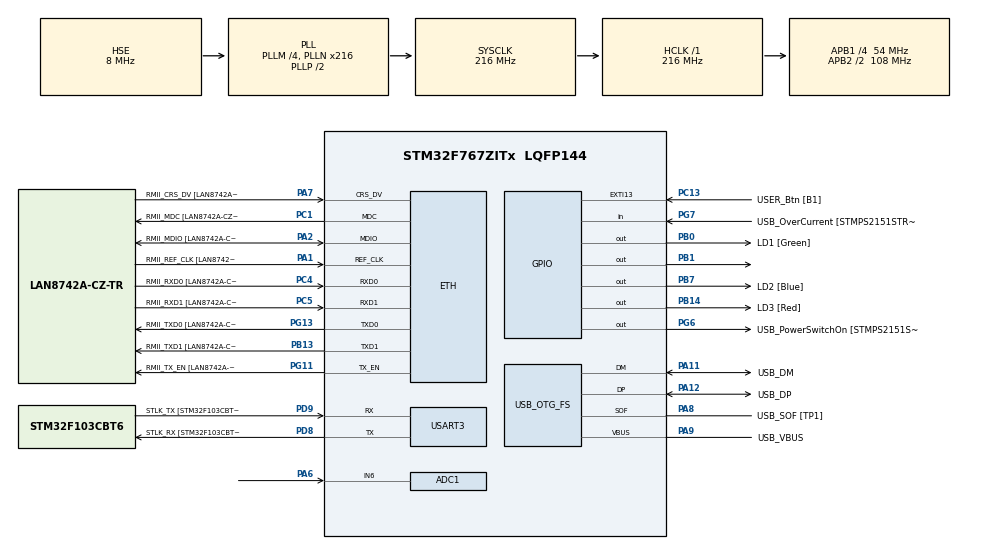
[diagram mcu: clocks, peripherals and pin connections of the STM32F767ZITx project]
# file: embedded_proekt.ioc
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ADC1.Channel-0\#ChannelRegularConversion=ADC_CHANNEL_6
ADC1.DiscontinuousConvMode=DISABLE
ADC1.NbrOfConversion=1
ADC1.NbrOfConversionFlag=1
ADC1.Rank-0\#ChannelRegularConversion=1
ADC1.SamplingTime-0\#ChannelRegularConversion=ADC_SAMPLETIME_112CYCLES
ADC1.ScanConvMode=ADC_SCAN_ENABLE
ADC1.master=1
ETH.MediaInterface=HAL_ETH_RMII_MODE
ETH.PHY_Name=LAN8742A_PHY_ADDRESS
ETH.PHY_Value=0
ETH.PhyAddress=0
FREERTOS.Tasks01=TemperaturaTask,24,128,startTemperaturaTask,Default,NULL,Dynamic,NULL,NULL;comunicationTas,8,128,startComunicationTask,Default,NULL,Dynamic,NULL,NULL
FREERTOS.configUSE_NEWLIB_REENTRANT=1
Mcu.Family=STM32F7
Mcu.Name=STM32F767ZITx
Mcu.Package=LQFP144
NVIC.PriorityGroup=NVIC_PRIORITYGROUP_4
NVIC.TIM6_DAC_IRQn=true\:15\:0\:false\:false\:true\:false\:false\:true\:true
NVIC.TimeBase=TIM6_DAC_IRQn
NVIC.TimeBaseIP=TIM6
PA1.GPIO_Label=RMII_REF_CLK [LAN8742A-CZ-TR_REFCLK0]
PA1.Mode=RMII
PA1.Signal=ETH_REF_CLK
PA10.GPIO_Label=USB_ID
PA10.Signal=USB_OTG_FS_ID
PA11.GPIO_Label=USB_DM
PA11.Mode=Device_Only
PA11.Signal=USB_OTG_FS_DM
PA12.GPIO_Label=USB_DP
PA12.Mode=Device_Only
PA12.Signal=USB_OTG_FS_DP
PA13.GPIO_Label=TMS
PA13.Mode=Serial_Wire
PA13.Signal=SYS_JTMS-SWDIO
PA14.GPIO_Label=TCK
PA14.Mode=Serial_Wire
PA14.Signal=SYS_JTCK-SWCLK
PA2.GPIO_Label=RMII_MDIO [LAN8742A-CZ-TR_MDIO]
PA2.Mode=RMII
PA2.Signal=ETH_MDIO
PA6.Signal=ADCx_IN6
PA7.GPIO_Label=RMII_CRS_DV [LAN8742A-CZ-TR_CRS_DV]
PA7.Mode=RMII
PA7.Signal=ETH_CRS_DV
PA8.GPIO_Label=USB_SOF [TP1]
PA8.Mode=Activate_SOF_FS
PA8.Signal=USB_OTG_FS_SOF
PA9.GPIO_Label=USB_VBUS
PA9.Mode=Activate_VBUS
PA9.Signal=USB_OTG_FS_VBUS
PB0.GPIO_Label=LD1 [Green]
PB0.Signal=GPIO_Output
PB1.PinState=GPIO_PIN_SET
PB1.Signal=GPIO_Output
PB13.GPIO_Label=RMII_TXD1 [LAN8742A-CZ-TR_TXD1]
PB13.Mode=RMII
PB13.Signal=ETH_TXD1
PB14.GPIO_Label=LD3 [Red]
PB14.Signal=GPIO_Output
PB3.GPIO_Label=SWO
PB3.Signal=SYS_JTDO-SWO
PB7.GPIO_Label=LD2 [Blue]
PB7.Signal=GPIO_Output
PC1.GPIO_Label=RMII_MDC [LAN8742A-CZ-TR_MDC]
PC1.Mode=RMII
PC1.Signal=ETH_MDC
PC13.GPIO_Label=USER_Btn [B1]
PC13.Signal=GPXTI13
PC14/OSC32_IN.Mode=LSE-External-Oscillator
PC14/OSC32_IN.Signal=RCC_OSC32_IN
PC15/OSC32_OUT.Mode=LSE-External-Oscillator
PC15/OSC32_OUT.Signal=RCC_OSC32_OUT
PC4.GPIO_Label=RMII_RXD0 [LAN8742A-CZ-TR_RXD0]
PC4.Mode=RMII
PC4.Signal=ETH_RXD0
PC5.GPIO_Label=RMII_RXD1 [LAN8742A-CZ-TR_RXD1]
PC5.Mode=RMII
PC5.Signal=ETH_RXD1
PD8.GPIO_Label=STLK_RX [STM32F103CBT6_PA3]
PD8.Mode=Asynchronous
PD8.Signal=USART3_TX
PD9.GPIO_Label=STLK_TX [STM32F103CBT6_PA2]
PD9.Mode=Asynchronous
PD9.Signal=USART3_RX
PG11.GPIO_Label=RMII_TX_EN [LAN8742A-CZ-TR_TXEN]
PG11.Mode=RMII
PG11.Signal=ETH_TX_EN
PG13.GPIO_Label=RMII_TXD0 [LAN8742A-CZ-TR_TXD0]
PG13.Mode=RMII
PG13.Signal=ETH_TXD0
PG6.GPIO_Label=USB_PowerSwitchOn [STMPS2151STR_EN]
PG6.Signal=GPIO_Output
PG7.GPIO_Label=USB_OverCurrent [STMPS2151STR_FAULT]
PG7.Signal=GPIO_Input
PH0/OSC_IN.GPIO_Label=MCO [STM32F103CBT6_PA8]
PH0/OSC_IN.Mode=HSE-External-Clock-Source
PH0/OSC_IN.Signal=RCC_OSC_IN
PH1/OSC_OUT.Mode=HSE-External-Clock-Source
PH1/OSC_OUT.Signal=RCC_OSC_OUT
ProjectManager.HeapSize=0x200
ProjectManager.StackSize=0x400
ProjectManager.TargetToolchain=STM32CubeIDE
RCC.48MHZClocksFreq_Value=24000000
RCC.AHBFreq_Value=216000000
RCC.APB1CLKDivider=RCC_HCLK_DIV4
RCC.APB1Freq_Value=54000000
RCC.APB1TimFreq_Value=108000000
RCC.APB2CLKDivider=RCC_HCLK_DIV2
RCC.APB2Freq_Value=108000000
RCC.APB2TimFreq_Value=216000000
RCC.CortexFreq_Value=216000000
RCC.HCLKFreq_Value=216000000
RCC.HSE_VALUE=8000000
RCC.HSI_VALUE=16000000
RCC.PLLM=4
RCC.PLLMUL=RCC_PLL_MUL9
RCC.PLLN=216
RCC.PLLQ=9
RCC.PRESCALERUSB=RCC_USBCLKSOURCE_PLL_DIV1_5
RCC.SYSCLKFreq_VALUE=216000000
RCC.SYSCLKSource=RCC_SYSCLKSOURCE_PLLCLK
RCC.SYSCLKSourceVirtual=RCC_SYSCLKSOURCE_PLLCLK
RCC.USBFreq_Value=48000000
RCC.VCOOutputFreq_Value=432000000
SH.ADCx_IN6.0=ADC1_IN6,IN6
USART3.VirtualMode-Asynchronous=VM_ASYNC
USB_OTG_FS.VirtualMode=Device_Only
VP_FREERTOS_VS_CMSIS_V2.Mode=CMSIS_V2
VP_SYS_VS_tim6.Mode=TIM6
board=NUCLEO-F767ZI

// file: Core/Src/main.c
/* USER CODE BEGIN Header */
/**
  ******************************************************************************
  * @file           : main.c
  * @brief          : Main program body
  ******************************************************************************
  * @attention
  *
  * Copyright (c) 2022 STMicroelectronics.
  * All rights reserved.
  *
  * This software is licensed under terms that can be found in the LICENSE file
  * in the root directory of this software component.
  * If no LICENSE file comes with this software, it is provided AS-IS.
  *
  ******************************************************************************
  */
/* USER CODE END Header */
#include "main.h"
#include "cmsis_os.h"
#include "adc.h"
#include "eth.h"
#include "usart.h"
#include "usb_otg.h"
#include "gpio.h"

void SystemClock_Config(void);
void MX_FREERTOS_Init(void);

int main(void)
{

  /* MCU Configuration--------------------------------------------------------*/

  /* Reset of all peripherals, Initializes the Flash interface and the Systick. */
  HAL_Init();

  /* Configure the system clock */
  SystemClock_Config();

  /* Initialize all configured peripherals */
  MX_GPIO_Init();
  MX_ETH_Init();
  MX_USART3_UART_Init();
  MX_USB_OTG_FS_PCD_Init();
  MX_ADC1_Init();

  /* Init scheduler */
  osKernelInitialize();  /* Call init function for freertos objects (in freertos.c) */
  MX_FREERTOS_Init();

  /* Start scheduler */
  osKernelStart();

  /* We should never get here as control is now taken by the scheduler */
  /* Infinite loop */
  while (1)
  {

  }
}

void SystemClock_Config(void)
{
  RCC_OscInitTypeDef RCC_OscInitStruct = {0};
  RCC_ClkInitTypeDef RCC_ClkInitStruct = {0};

  /** Configure LSE Drive Capability
  */
  HAL_PWR_EnableBkUpAccess();

  /** Configure the main internal regulator output voltage
  */
  __HAL_RCC_PWR_CLK_ENABLE();
  __HAL_PWR_VOLTAGESCALING_CONFIG(PWR_REGULATOR_VOLTAGE_SCALE1);

  /** Initializes the RCC Oscillators according to the specified parameters
  * in the RCC_OscInitTypeDef structure.
  */
  RCC_OscInitStruct.OscillatorType = RCC_OSCILLATORTYPE_HSE;
  RCC_OscInitStruct.HSEState = RCC_HSE_BYPASS;
  RCC_OscInitStruct.PLL.PLLState = RCC_PLL_ON;
  RCC_OscInitStruct.PLL.PLLSource = RCC_PLLSOURCE_HSE;
  RCC_OscInitStruct.PLL.PLLM = 4;
  RCC_OscInitStruct.PLL.PLLN = 216;
  RCC_OscInitStruct.PLL.PLLP = RCC_PLLP_DIV2;
  RCC_OscInitStruct.PLL.PLLQ = 9;
  RCC_OscInitStruct.PLL.PLLR = 2;
  if (HAL_RCC_OscConfig(&RCC_OscInitStruct) != HAL_OK)
  {
    Error_Handler();
  }

  /** Activate the Over-Drive mode
  */
  if (HAL_PWREx_EnableOverDrive() != HAL_OK)
  {
    Error_Handler();
  }

  /** Initializes the CPU, AHB and APB buses clocks
  */
  RCC_ClkInitStruct.ClockType = RCC_CLOCKTYPE_HCLK|RCC_CLOCKTYPE_SYSCLK
                              |RCC_CLOCKTYPE_PCLK1|RCC_CLOCKTYPE_PCLK2;
  RCC_ClkInitStruct.SYSCLKSource = RCC_SYSCLKSOURCE_PLLCLK;
  RCC_ClkInitStruct.AHBCLKDivider = RCC_SYSCLK_DIV1;
  RCC_ClkInitStruct.APB1CLKDivider = RCC_HCLK_DIV4;
  RCC_ClkInitStruct.APB2CLKDivider = RCC_HCLK_DIV2;

  if (HAL_RCC_ClockConfig(&RCC_ClkInitStruct, FLASH_LATENCY_7) != HAL_OK)
  {
    Error_Handler();
  }
}

void HAL_TIM_PeriodElapsedCallback(TIM_HandleTypeDef *htim)
{
  if (htim->Instance == TIM6) {
    HAL_IncTick();
  }
}

void Error_Handler(void)
{
  __disable_irq();
  while (1)
  {
  }
}

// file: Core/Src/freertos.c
/* USER CODE BEGIN Header */
/**
  ******************************************************************************
  * File Name          : freertos.c
  * Description        : Code for freertos applications
  ******************************************************************************
  * @attention
  *
  * Copyright (c) 2022 STMicroelectronics.
  * All rights reserved.
  *
  * This software is licensed under terms that can be found in the LICENSE file
  * in the root directory of this software component.
  * If no LICENSE file comes with this software, it is provided AS-IS.
  *
  ******************************************************************************
  */
/* USER CODE END Header */

#include "FreeRTOS.h"
#include "task.h"
#include "main.h"
#include "cmsis_os.h"

/* USER CODE BEGIN Includes */
#include "math.h"
#include "adc.h"
#include "usart.h"
#include "stdio.h"
/* USER CODE END Includes */

/* USER CODE BEGIN Variables */
	float resNTC;
/* USER CODE END Variables */
/* Definitions for TemperaturaTask */
osThreadId_t TemperaturaTaskHandle;
const osThreadAttr_t TemperaturaTask_attributes = {
  .name = "TemperaturaTask",
  .stack_size = 128 * 4,
  .priority = (osPriority_t) osPriorityNormal,
};
/* Definitions for comunicationTas */
osThreadId_t comunicationTasHandle;
const osThreadAttr_t comunicationTas_attributes = {
  .name = "comunicationTas",
  .stack_size = 128 * 4,
  .priority = (osPriority_t) osPriorityLow,
};

/* USER CODE BEGIN FunctionPrototypes */
// Reverses a string 'str' of length 'len'
void reverse(char* str, int len)
{
    int i = 0, j = len - 1, temp;
    while (i < j) {
        temp = str[i];
        str[i] = str[j];
        str[j] = temp;
        i++;
        j--;
    }
}

// Converts a given integer x to string str[].
// d is the number of digits required in the output.
// If d is more than the number of digits in x,
// then 0s are added at the beginning.
int intToStr(int x, char str[], int d)
{
    int i = 0;
    while (x) {
        str[i++] = (x % 10) + '0';
        x = x / 10;
    }

    // If number of digits required is more, then
    // add 0s at the beginning
    while (i < d)
        str[i++] = '0';

    reverse(str, i);
    str[i] = '\0';
    return i;
}

// Converts a floating-point/double number to a string.
void ftoa(float n, char* res, int afterpoint)
{
    // Extract integer part
    int ipart = (int)n;

    // Extract floating part
    float fpart = n - (float)ipart;

    // convert integer part to string
    int i = intToStr(ipart, res, 0);

    // check for display option after point
    if (afterpoint != 0) {
        res[i] = '.'; // add dot

        // Get the value of fraction part upto given no.
        // of points after dot. The third parameter
        // is needed to handle cases like 233.007
        fpart = fpart * pow(10, afterpoint);

        intToStr((int)fpart, res + i + 1, afterpoint);
    }
}

/* USER CODE END FunctionPrototypes */

void startTemperaturaTask(void *argument);
void startComunicationTask(void *argument);

void MX_FREERTOS_Init(void); /* (MISRA C 2004 rule 8.1) */

void MX_FREERTOS_Init(void) {

  /* Create the thread(s) */
  /* creation of TemperaturaTask */
  TemperaturaTaskHandle = osThreadNew(startTemperaturaTask, NULL, &TemperaturaTask_attributes);

  /* creation of comunicationTas */
  comunicationTasHandle = osThreadNew(startComunicationTask, NULL, &comunicationTas_attributes);

}

void startTemperaturaTask(void *argument)
{
  /* USER CODE BEGIN startTemperaturaTask */

float vol_s;

  /* Infinite loop */
  for(;;)
  {
	  HAL_ADC_Start(&hadc1);
	  if(HAL_ADC_PollForConversion(&hadc1, 1000) == HAL_OK)
	  {
		  resNTC = HAL_ADC_GetValue(&hadc1);

		  vol_s = (resNTC/4096)*3300; //presmetuvanje na naponot
		  resNTC = (vol_s * 18000)/(3300 - vol_s); //presmetuvanje na otpornost

		  resNTC = 1/(((log(resNTC/10000))/3977)+(1/298.15)) - 273.15; //presmetuvanje na temperaturata

	  }
    osDelay(1);
  }
  /* USER CODE END startTemperaturaTask */
}

void startComunicationTask(void *argument)
{
  /* USER CODE BEGIN startComunicationTask */
  /* Infinite loop */
	char resNTCstring[100];

  for(;;)
  {
	  ftoa(resNTC,resNTCstring,2);
	  HAL_UART_Transmit(&huart3, resNTCstring, strlen(resNTCstring), 1000);
	  HAL_UART_Transmit(&huart3, "\r\n", 2, 1000);
    osDelay(1000);
  }
  /* USER CODE END startComunicationTask */
}
